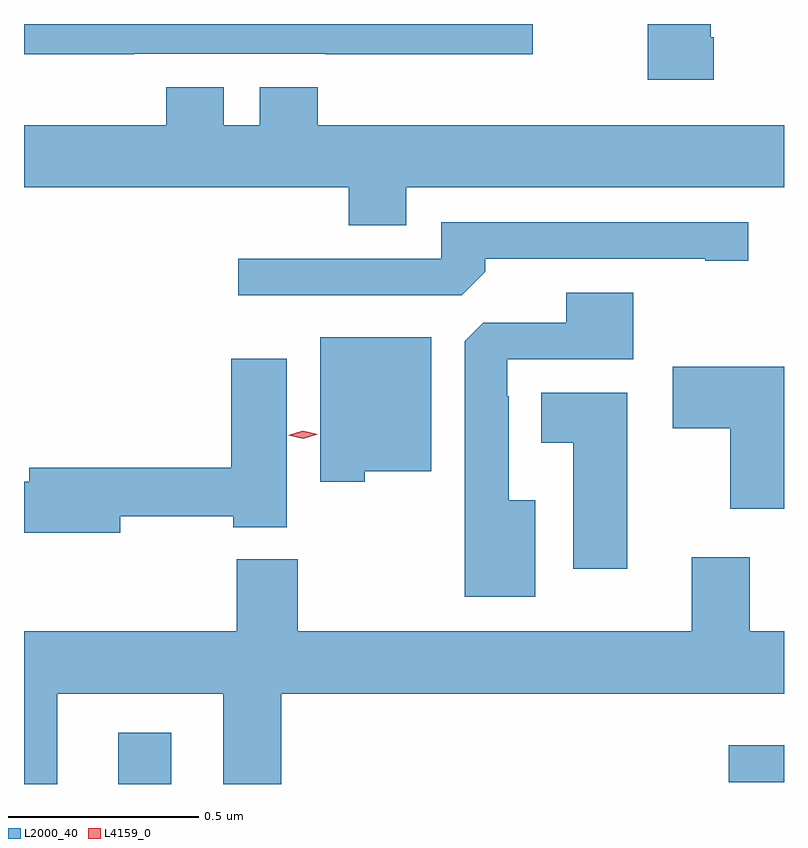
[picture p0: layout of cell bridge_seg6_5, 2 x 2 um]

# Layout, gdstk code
import gdstk
lib = gdstk.Library(unit=1e-6, precision=1e-09)
def R(c, l, rs):  # rectangles x0, y0, x1, y1
    for r in rs: c.add(gdstk.rectangle(r[:2], r[2:], *l))
def P(c, l, *ps):  # polygons
    for p in ps: c.add(gdstk.Polygon(p, *l))
L2000_40 = (2000, 40)
L4159_0 = (4159, 0)

bridge_seg6_5 = lib.new_cell('bridge_seg6_5')
R(bridge_seg6_5, L2000_40, [(975.797,956.422,975.937,956.557), (977.403,956.427,977.549,956.524)])
P(bridge_seg6_5, L2000_40, [(975.839,958.344),(976.342,958.344),(976.342,958.343),(976.888,958.343),(976.888,958.422),(975.549,958.422),(975.549,958.343),(975.839,958.343)],
  [(977.364,958.387),(977.356,958.387),(977.356,958.422),(977.191,958.422),(977.191,958.275),(977.364,958.275)],
  [(976.555,957.992),(977.549,957.992),(977.549,958.156),(976.322,958.156),(976.322,958.255),(976.169,958.255),(976.169,958.156),(976.075,958.156),(976.075,958.255),(975.923,958.255),(975.923,958.156),(975.549,958.156),(975.549,957.992),(976.403,957.992),(976.403,957.893),(976.555,957.893)],
  [(976.763,957.77),(976.763,957.804),(977.342,957.804),(977.342,957.799),(977.455,957.799),(977.455,957.9),(976.647,957.9),(976.647,957.804),(976.113,957.804),(976.113,957.708),(976.701,957.708)],
  [(976.894,957.169),(976.825,957.169),(976.825,957.443),(976.821,957.443),(976.821,957.54),(977.152,957.54),(977.152,957.715),(976.976,957.715),(976.976,957.636),(976.758,957.636),(976.709,957.587),(976.709,956.915),(976.894,956.915)],
  [(976.446,957.245),(976.621,957.245),(976.621,957.598),(976.328,957.598),(976.328,957.218),(976.446,957.218)],
  [(975.802,957.126),(976.099,957.126),(976.099,957.098),(976.24,957.098),(976.24,957.541),(976.094,957.541),(976.094,957.254),(975.563,957.254),(975.563,957.218),(975.549,957.218),(975.549,957.083),(975.802,957.083)],
  [(977.549,957.52),(977.256,957.52),(977.256,957.358),(977.408,957.358),(977.408,957.147),(977.549,957.147)],
  [(977.137,957.451),(976.91,957.451),(976.91,957.32),(976.994,957.32),(976.994,956.988),(977.137,956.988)],
  [(975.637,956.66),(976.073,956.66),(976.073,956.422),(976.226,956.422),(976.226,956.66),(977.549,956.66),(977.549,956.824),(977.459,956.824),(977.459,957.019),(977.306,957.019),(977.306,956.824),(976.269,956.824),(976.269,957.013),(976.109,957.013),(976.109,956.824),(975.549,956.824),(975.549,956.422),(975.637,956.422)])
P(bridge_seg6_5, L4159_0, [(976.284,957.331),(976.245,957.34),(976.245,957.34),(976.245,957.34),(976.283,957.351),(976.322,957.342),(976.322,957.342),(976.322,957.342)])

lib.write_gds('bridge_seg6_5.gds')
